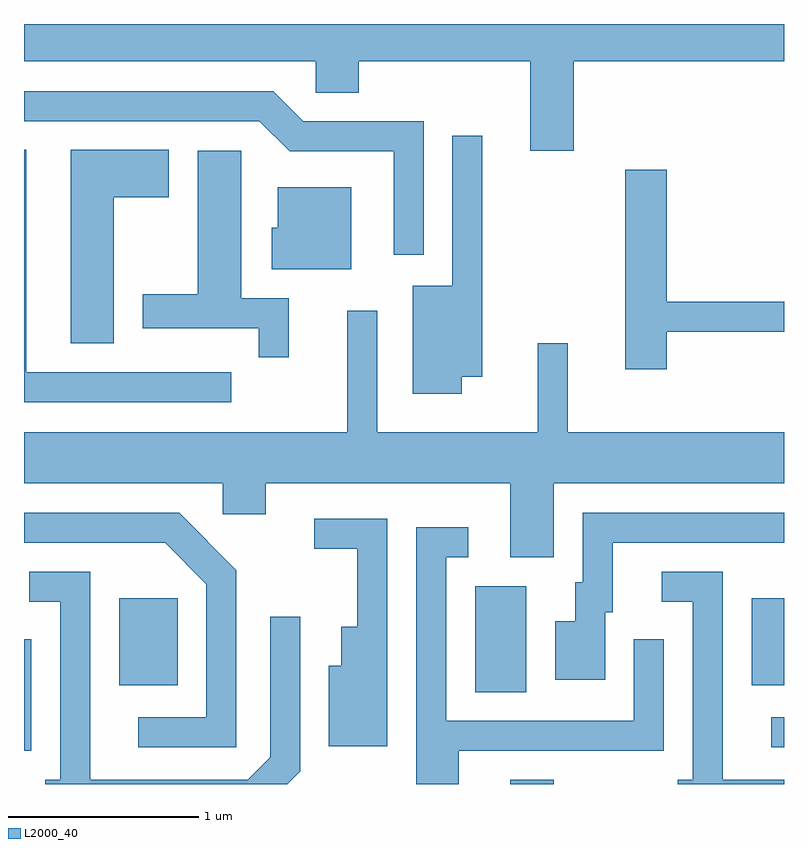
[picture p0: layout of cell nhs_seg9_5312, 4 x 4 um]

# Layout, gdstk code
import gdstk
lib = gdstk.Library(unit=1e-6, precision=1e-09)
def R(c, l, rs):  # rectangles x0, y0, x1, y1
    for r in rs: c.add(gdstk.rectangle(r[:2], r[2:], *l))
def P(c, l, *ps):  # polygons
    for p in ps: c.add(gdstk.Polygon(p, *l))
L2000_40 = (2000, 40)

nhs_seg9_5312 = lib.new_cell('nhs_seg9_5312')
R(nhs_seg9_5312, L2000_40, [(344.171,2012.432,344.399,2012.454), (341.611,2012.606,341.649,2013.193), (345.543,2012.626,345.611,2012.784), (343.986,2012.916,344.254,2013.474), (342.111,2012.951,342.419,2013.409), (345.441,2012.951,345.611,2013.409)])
P(nhs_seg9_5312, L2000_40, [(344.504,2016.236),(345.611,2016.236),(345.611,2016.432),(341.611,2016.432),(341.611,2016.236),(343.146,2016.236),(343.146,2016.071),(343.374,2016.071),(343.374,2016.236),(344.276,2016.236),(344.276,2015.766),(344.504,2015.766)],
  [(343.714,2015.919),(343.082,2015.919),(342.922,2016.079),(341.611,2016.079),(341.611,2015.921),(342.849,2015.921),(343.009,2015.761),(343.556,2015.761),(343.556,2015.218),(343.714,2015.218)],
  [(343.914,2014.576),(344.024,2014.576),(344.024,2015.843),(343.866,2015.843),(343.866,2015.054),(343.656,2015.054),(343.656,2014.486),(343.914,2014.486)],
  [(342.084,2015.521),(342.374,2015.521),(342.374,2015.769),(341.856,2015.769),(341.856,2014.751),(342.084,2014.751)],
  [(342.703,2014.599),(341.624,2014.599),(341.624,2015.769),(341.611,2015.769),(341.611,2014.441),(342.703,2014.441)],
  [(343.004,2014.989),(342.754,2014.989),(342.754,2015.764),(342.526,2015.764),(342.526,2015.009),(342.236,2015.009),(342.236,2014.831),(342.846,2014.831),(342.846,2014.678),(343.004,2014.678)],
  [(344.994,2014.811),(345.611,2014.811),(345.611,2014.969),(344.994,2014.969),(344.994,2015.664),(344.776,2015.664),(344.776,2014.616),(344.994,2014.616)],
  [(343.334,2015.574),(342.946,2015.574),(342.946,2015.359),(342.916,2015.359),(342.916,2015.141),(343.334,2015.141)],
  [(344.399,2014.016),(345.611,2014.016),(345.611,2014.284),(344.474,2014.284),(344.474,2014.753),(344.316,2014.753),(344.316,2014.284),(343.469,2014.284),(343.469,2014.923),(343.311,2014.923),(343.311,2014.284),(341.611,2014.284),(341.611,2014.016),(342.656,2014.016),(342.656,2013.851),(342.884,2013.851),(342.884,2014.016),(344.171,2014.016),(344.171,2013.626),(344.399,2013.626)],
  [(342.729,2013.557),(342.427,2013.859),(341.611,2013.859),(341.611,2013.701),(342.354,2013.701),(342.571,2013.484),(342.571,2012.784),(342.213,2012.784),(342.213,2012.626),(342.729,2012.626)],
  [(344.669,2013.336),(344.709,2013.336),(344.709,2013.701),(345.611,2013.701),(345.611,2013.859),(344.551,2013.859),(344.551,2013.494),(344.511,2013.494),(344.511,2013.289),(344.406,2013.289),(344.406,2012.981),(344.669,2012.981)],
  [(343.524,2013.829),(343.138,2013.829),(343.138,2013.671),(343.366,2013.671),(343.366,2013.259),(343.281,2013.259),(343.281,2013.054),(343.216,2013.054),(343.216,2012.631),(343.524,2012.631)],
  [(343.899,2012.606),(344.979,2012.606),(344.979,2013.193),(344.821,2013.193),(344.821,2012.764),(343.834,2012.764),(343.834,2013.626),(343.948,2013.626),(343.948,2013.784),(343.676,2013.784),(343.676,2012.432),(343.899,2012.432)],
  [(345.611,2012.454),(345.289,2012.454),(345.289,2013.549),(344.968,2013.549),(344.968,2013.391),(345.131,2013.391),(345.131,2012.454),(345.053,2012.454),(345.053,2012.432),(345.611,2012.432)],
  [(343.064,2012.499),(343.064,2013.313),(342.906,2013.313),(342.906,2012.572),(342.789,2012.454),(341.959,2012.454),(341.959,2013.549),(341.638,2013.549),(341.638,2013.391),(341.801,2013.391),(341.801,2012.454),(341.723,2012.454),(341.723,2012.432),(342.997,2012.432)])

lib.write_gds('nhs_seg9_5312.gds')
